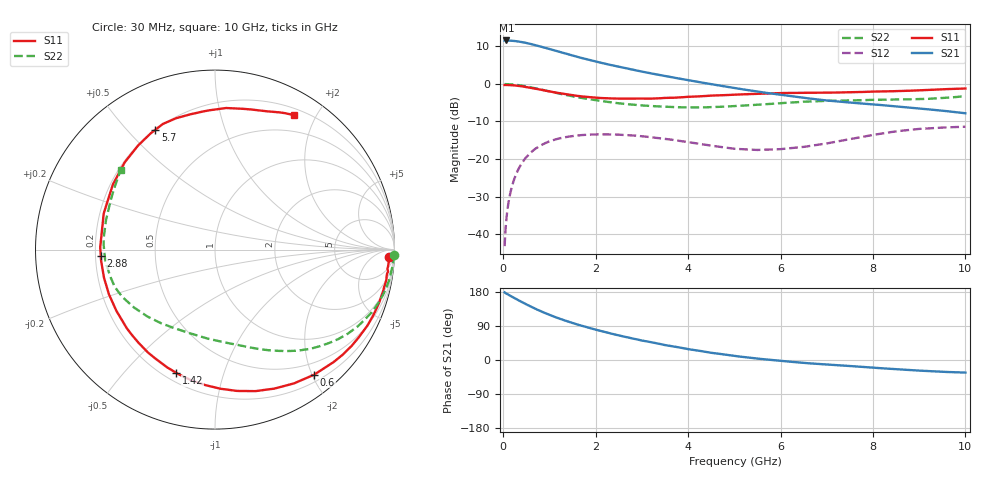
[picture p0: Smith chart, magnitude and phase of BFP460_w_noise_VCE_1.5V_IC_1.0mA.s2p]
! (c) 2016  Infineon Technologies AG, Munich
! Infineon Technologies  Discrete & RF Semiconductors
! BFP460
! VCE =  1.5 V,  IC =  1.0 mA
! Common Emitter S-Parameters:  Jan 2016
# GHz  S  MA  R  50
!  f  S11  S21  S12  S22
! GHz  MAG  ANG  MAG  ANG  MAG  ANG  MAG  ANG
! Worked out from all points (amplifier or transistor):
!   229 points, 30 MHz to 10 GHz, reference 50 ohm
!   highest |S21| = 11.6 dB at 70 MHz (marker M1)
!   |S21| within 3 dB of that: start of sweep to 1.201 GHz
!   unconditionally stable (mu >= 1): 4.337 GHz to 9.348 GHz
!   at 280 MHz: K = 0.07, MSG = 17.7 dB, |S12| = -24.0 dB
!   at 1.78 GHz: K = 0.41, MSG = 10.1 dB, |S12| = -13.6 dB
!   at 10 GHz: K = 1.00, MSG = 1.8 dB, |S12| = -11.4 dB
!   lowest NFmin = 0.69 dB at 450 MHz
!   S11 on the Smith chart (normalised r, x): 30 MHz: 21, -30; 600 MHz: 0.31, -2.03; 1.42 GHz: 0.25, -0.70; 2.88 GHz: 0.22, -0.03; 5.7 GHz: 0.20, +0.60; 10 GHz: 0.28, +1.72
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0.03  0.9687 -2.6  3.79 178.4  0.0069 88.2  0.9968 -1.6
0.05  0.9697 -4.4  3.768 176.1  0.0117 86.7  0.9959 -2.5
0.07  0.9664 -6.3  3.799 174.8  0.0162 86.0  0.9956 -3.5
0.14  0.9652 -12.5  3.787 170.4  0.0322 81.9  0.9907 -7.1
0.24  0.956 -21.4  3.74 163.6  0.0544 76.1  0.9794 -12.0
0.45  0.9216 -39.4  3.571 149.8  0.097 64.6  0.94 -21.9
0.6  0.8892 -51.6  3.408 140.6  0.1228 57.0  0.9034 -28.2
0.8  0.842 -66.9  3.163 129.3  0.1507 47.8  0.849 -35.9
0.98  0.8006 -79.7  2.947 120.1  0.1699 40.6  0.8004 -41.8
1.2  0.7568 -94.1  2.691 109.9  0.1875 32.9  0.7473 -48.3
1.42  0.7198 -107.4  2.463 100.8  0.199 26.1  0.6997 -53.8
1.7  0.6842 -123.1  2.216 90.2  0.2085 18.8  0.6505 -59.9
1.96  0.6604 -136.4  2.02 81.4  0.2124 12.9  0.6123 -65.1
2.22  0.6455 -149.0  1.851 73.2  0.2133 7.7  0.581 -70.0
2.88  0.6373 -176.6  1.515 54.7  0.2043 -3.0  0.5248 -82.4
3.4  0.645 165.3  1.311 42.1  0.189 -8.7  0.5009 -92.4
4.1  0.6774 145.1  1.097 26.9  0.1645 -12.4  0.4865 -106.7
5.1  0.7238 125.0  0.864 9.3  0.1359 -7.1  0.5112 -127.8
5.7  0.746 116.4  0.76 1.4  0.1332 0.7  0.5382 -139.1
6.8  0.764 102.8  0.622 -10.2  0.1547 12.7  0.5888 -157.0
8.4  0.7996 78.8  0.509 -23.5  0.2289 11.6  0.621 177.5
10  0.8699 59.4  0.407 -33.2  0.2694 -0.9  0.6886 139.7
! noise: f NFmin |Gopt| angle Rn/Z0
0.45  0.69  0.73  19  0.45
0.9  0.78  0.68  41  0.42
1.9  1.48  0.47  96  0.28
3.5  2.5  0.41  -173  0.14
